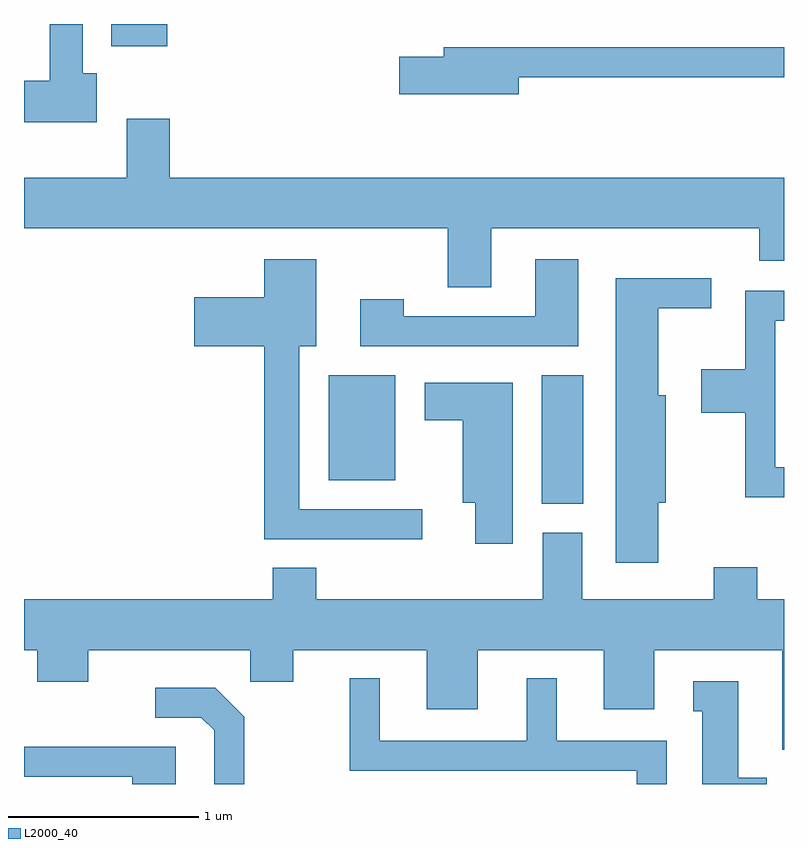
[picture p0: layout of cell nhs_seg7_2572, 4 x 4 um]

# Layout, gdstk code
import gdstk
lib = gdstk.Library(unit=1e-6, precision=1e-09)
def R(c, l, rs):  # rectangles x0, y0, x1, y1
    for r in rs: c.add(gdstk.rectangle(r[:2], r[2:], *l))
def P(c, l, *ps):  # polygons
    for p in ps: c.add(gdstk.Polygon(p, *l))
L2000_40 = (2000, 40)

nhs_seg7_2572 = lib.new_cell('nhs_seg7_2572')
R(nhs_seg7_2572, L2000_40, [(266.336,1741.726,266.554,1742.404), (265.216,1741.851,265.564,1742.404), (264.071,1744.136,264.364,1744.252)])
P(nhs_seg7_2572, L2000_40, [(263.994,1743.994),(263.919,1743.994),(263.919,1744.252),(263.746,1744.252),(263.746,1743.954),(263.611,1743.954),(263.611,1743.736),(263.994,1743.736)],
  [(266.214,1743.971),(267.611,1743.971),(267.611,1744.129),(265.821,1744.129),(265.821,1744.079),(265.586,1744.079),(265.586,1743.881),(266.214,1743.881)],
  [(266.069,1743.176),(267.481,1743.176),(267.481,1743.006),(267.611,1743.006),(267.611,1743.444),(264.379,1743.444),(264.379,1743.754),(264.151,1743.754),(264.151,1743.444),(263.611,1743.444),(263.611,1743.176),(265.841,1743.176),(265.841,1742.866),(266.069,1742.866)],
  [(266.529,1743.014),(266.301,1743.014),(266.301,1742.714),(265.609,1742.714),(265.609,1742.804),(265.381,1742.804),(265.381,1742.556),(266.529,1742.556)],
  [(265.708,1741.699),(265.059,1741.699),(265.059,1742.556),(265.149,1742.556),(265.149,1743.014),(264.876,1743.014),(264.876,1742.814),(264.506,1742.814),(264.506,1742.556),(264.876,1742.556),(264.876,1741.541),(265.708,1741.541)],
  [(266.949,1741.731),(266.989,1741.731),(266.989,1742.299),(266.949,1742.299),(266.949,1742.756),(267.228,1742.756),(267.228,1742.914),(266.726,1742.914),(266.726,1741.416),(266.949,1741.416)],
  [(267.611,1741.919),(267.564,1741.919),(267.564,1742.691),(267.611,1742.691),(267.611,1742.849),(267.406,1742.849),(267.406,1742.434),(267.176,1742.434),(267.176,1742.206),(267.406,1742.206),(267.406,1741.761),(267.611,1741.761)],
  [(266.184,1742.364),(265.721,1742.364),(265.721,1742.166),(265.921,1742.166),(265.921,1741.731),(265.986,1741.731),(265.986,1741.516),(266.184,1741.516)],
  [(267.611,1741.224),(267.469,1741.224),(267.469,1741.394),(267.241,1741.394),(267.241,1741.224),(266.549,1741.224),(266.549,1741.574),(266.341,1741.574),(266.341,1741.224),(265.149,1741.224),(265.149,1741.389),(264.921,1741.389),(264.921,1741.224),(263.611,1741.224),(263.611,1740.956),(263.681,1740.956),(263.681,1740.791),(263.949,1740.791),(263.949,1740.956),(264.801,1740.956),(264.801,1740.791),(265.029,1740.791),(265.029,1740.956),(265.731,1740.956),(265.731,1740.646),(265.999,1740.646),(265.999,1740.956),(266.661,1740.956),(266.661,1740.646),(266.929,1740.646),(266.929,1740.956),(267.601,1740.956),(267.601,1740.431),(267.611,1740.431)],
  [(266.994,1740.479),(266.414,1740.479),(266.414,1740.808),(266.256,1740.808),(266.256,1740.479),(265.484,1740.479),(265.484,1740.808),(265.326,1740.808),(265.326,1740.321),(266.836,1740.321),(266.836,1740.252),(266.994,1740.252)],
  [(267.519,1740.284),(267.369,1740.284),(267.369,1740.794),(267.133,1740.794),(267.133,1740.636),(267.181,1740.636),(267.181,1740.252),(267.519,1740.252)],
  [(264.769,1740.607),(264.617,1740.759),(264.303,1740.759),(264.303,1740.601),(264.544,1740.601),(264.611,1740.534),(264.611,1740.252),(264.769,1740.252)],
  [(264.409,1740.449),(263.611,1740.449),(263.611,1740.291),(264.181,1740.291),(264.181,1740.252),(264.409,1740.252)])

lib.write_gds('nhs_seg7_2572.gds')
